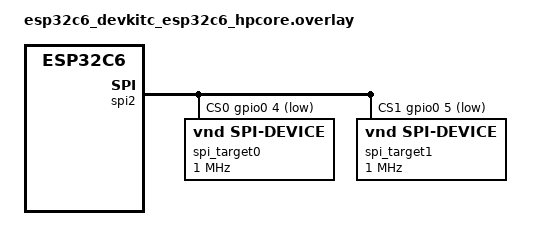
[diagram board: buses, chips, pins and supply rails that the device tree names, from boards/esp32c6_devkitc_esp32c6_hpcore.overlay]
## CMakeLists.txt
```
# SPDX-License-Identifier: Apache-2.0

cmake_minimum_required(VERSION 3.20.0)
find_package(Zephyr REQUIRED HINTS $ENV{ZEPHYR_BASE})
project(app_more_services4)

zephyr_syscall_header(${CMAKE_CURRENT_SOURCE_DIR}/src/svc.h)

target_sources(app PRIVATE src/main.c src/svc.c)
```

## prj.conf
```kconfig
CONFIG_USERSPACE=y
CONFIG_APPLICATION_DEFINED_SYSCALL=y

CONFIG_SPI=y
CONFIG_HWINFO=y

CONFIG_LOG=y
CONFIG_LOG_MODE_MINIMAL=y
CONFIG_THREAD_NAME=y

CONFIG_MAIN_STACK_SIZE=4096
```

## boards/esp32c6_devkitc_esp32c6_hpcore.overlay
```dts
/*
 * Copyright (c) 2026 Espressif Systems (Shanghai) Co., Ltd.
 *
 * SPDX-License-Identifier: Apache-2.0
 */

/*
 * SPI bus 2 with two GPIO chip-selects (GPIO4 and GPIO5). Each child node is a
 * distinct target the service can address; the app is granted a subset. Wire
 * MISO (GPIO2) to MOSI (GPIO7) to see a loopback on either chip-select.
 */
&spi2 {
	status = "okay";
	pinctrl-0 = <&spim2_default>;
	pinctrl-names = "default";
	#address-cells = <1>;
	#size-cells = <0>;
	cs-gpios = <&gpio0 4 GPIO_ACTIVE_LOW>,
		   <&gpio0 5 GPIO_ACTIVE_LOW>;

	spi_target0: spi_target0@0 {
		compatible = "vnd,spi-device";
		reg = <0>;
		spi-max-frequency = <1000000>;
	};

	spi_target1: spi_target1@1 {
		compatible = "vnd,spi-device";
		reg = <1>;
		spi-max-frequency = <1000000>;
	};
};
```

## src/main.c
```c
/*
 * Copyright (c) 2026 Espressif Systems (Shanghai) Co., Ltd.
 *
 * SPDX-License-Identifier: Apache-2.0
 */

/*
 * An app using the SPI bus and system hardware info through services. It runs a
 * SPI transfer (the controller is platform-owned; wire MISO to MOSI to see a
 * loopback), reads the chip's unique device id, and reads why the device last
 * reset. All reached only through service syscalls from user mode.
 */

#include "svc.h"

#include <zephyr/kernel.h>
#include <zephyr/sys/printk.h>

#define STACK_SIZE 2048
#define APP_PRIO   5

K_THREAD_STACK_DEFINE(app_stack, STACK_SIZE);
static struct k_thread app_thread;

static void app_entry(void *p1, void *p2, void *p3)
{
	ARG_UNUSED(p1); ARG_UNUSED(p2); ARG_UNUSED(p3);

	/* SPI: full-duplex transfer. */
	uint8_t tx[4] = { 0xDE, 0xAD, 0xBE, 0xEF };
	uint8_t rx[4] = { 0 };
	int rc = svc_spi_xfer(tx, rx, sizeof(tx));

	if (rc >= 0) {
		printk("  [app] SPI sent DE AD BE EF, received %02x %02x %02x %02x\n",
		       rx[0], rx[1], rx[2], rx[3]);
	} else {
		printk("  [app] SPI xfer rc=%d\n", rc);
	}

	/* hwinfo: unique device id. */
	uint8_t id[8] = { 0 };
	int n = svc_device_id(id, sizeof(id));

	printk("  [app] device id (%d bytes): ", n);
	for (int i = 0; i < n; i++) {
		printk("%02x", id[i]);
	}
	printk("\n");

	/* hwinfo: reset cause. */
	uint32_t cause = 0;

	if (svc_reset_cause(&cause) == 0) {
		printk("  [app] last reset cause = 0x%08x\n", cause);
	}

	printk("  [app] done - used SPI + device id + reset cause\n");
}

int main(void)
{
	printk("\n*** more services 4: SPI + system info (C6) ***\n");

	k_tid_t t = k_thread_create(&app_thread, app_stack, STACK_SIZE, app_entry,
				    NULL, NULL, NULL, APP_PRIO, K_USER, K_FOREVER);

	k_thread_start(t);
	k_thread_join(t, K_FOREVER);

	printk("\n*** done ***\n");
	return 0;
}
```

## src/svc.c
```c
/*
 * Copyright (c) 2026 Espressif Systems (Shanghai) Co., Ltd.
 *
 * SPDX-License-Identifier: Apache-2.0
 */

#include "svc.h"

#include <zephyr/kernel.h>
#include <zephyr/sys/printk.h>
#include <zephyr/device.h>
#include <zephyr/drivers/spi.h>
#include <zephyr/drivers/hwinfo.h>
#include <zephyr/internal/syscall_handler.h>
#include <string.h>

#define XFER_MAX 32

/* The platform owns the SPI controller (bus 2 on the devkit). */
static const struct device *const spi_dev = DEVICE_DT_GET(DT_NODELABEL(spi2));
static struct spi_config spi_cfg = {
	.frequency = 1000000,
	.operation = SPI_WORD_SET(8) | SPI_TRANSFER_MSB,
};

int z_impl_svc_spi_xfer(const uint8_t *tx, uint8_t *rx, size_t len)
{
	if (!device_is_ready(spi_dev) || len > XFER_MAX) {
		return -ENODEV;
	}
	struct spi_buf txb = { .buf = (void *)tx, .len = len };
	struct spi_buf rxb = { .buf = rx, .len = len };
	struct spi_buf_set txs = { .buffers = &txb, .count = 1 };
	struct spi_buf_set rxs = { .buffers = &rxb, .count = 1 };

	int rc = spi_transceive(spi_dev, &spi_cfg, &txs, &rxs);

	return (rc == 0) ? (int)len : rc;
}

int z_impl_svc_device_id(uint8_t *buf, size_t len)
{
	return (int)hwinfo_get_device_id(buf, len);
}

int z_impl_svc_reset_cause(uint32_t *cause)
{
	return hwinfo_get_reset_cause(cause);
}

#ifdef CONFIG_USERSPACE
static inline int z_vrfy_svc_spi_xfer(const uint8_t *tx, uint8_t *rx, size_t len)
{
	if (len > XFER_MAX) {
		return -EINVAL;
	}
	K_OOPS(K_SYSCALL_MEMORY_READ(tx, len));
	K_OOPS(K_SYSCALL_MEMORY_WRITE(rx, len));
	return z_impl_svc_spi_xfer(tx, rx, len);
}
#include <zephyr/syscalls/svc_spi_xfer_mrsh.c>

static inline int z_vrfy_svc_device_id(uint8_t *buf, size_t len)
{
	K_OOPS(K_SYSCALL_MEMORY_WRITE(buf, len));
	return z_impl_svc_device_id(buf, len);
}
#include <zephyr/syscalls/svc_device_id_mrsh.c>

static inline int z_vrfy_svc_reset_cause(uint32_t *cause)
{
	K_OOPS(K_SYSCALL_MEMORY_WRITE(cause, sizeof(*cause)));
	return z_impl_svc_reset_cause(cause);
}
#include <zephyr/syscalls/svc_reset_cause_mrsh.c>
#endif
```

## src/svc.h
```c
/*
 * Copyright (c) 2026 Espressif Systems (Shanghai) Co., Ltd.
 *
 * SPDX-License-Identifier: Apache-2.0
 */

#ifndef APP_MORE_SERVICES4_SVC_H_
#define APP_MORE_SERVICES4_SVC_H_

#include <zephyr/kernel.h>

/*
 * A fourth batch: the SPI bus (scoped, like I2C) and system hardware info.
 *
 *   svc_spi_xfer  - full-duplex SPI transfer on the platform-owned bus. Scoped
 *                   in a real system to a granted chip-select; the platform owns
 *                   the controller, the app sends/receives bytes.
 *   svc_device_id - the chip's unique hardware id (open, read-only).
 *   svc_reset_cause - why the device last reset (open, read-only system info).
 */

/* Scoped: full-duplex transfer @len bytes (tx -> rx). */
__syscall int svc_spi_xfer(const uint8_t *tx, uint8_t *rx, size_t len);

/* Open: copy up to @len bytes of the unique device id into @buf; returns count. */
__syscall int svc_device_id(uint8_t *buf, size_t len);

/* Open: the reset cause bitmask from the last reset. */
__syscall int svc_reset_cause(uint32_t *cause);

#include <zephyr/syscalls/svc.h>

#endif /* APP_MORE_SERVICES4_SVC_H_ */
```
